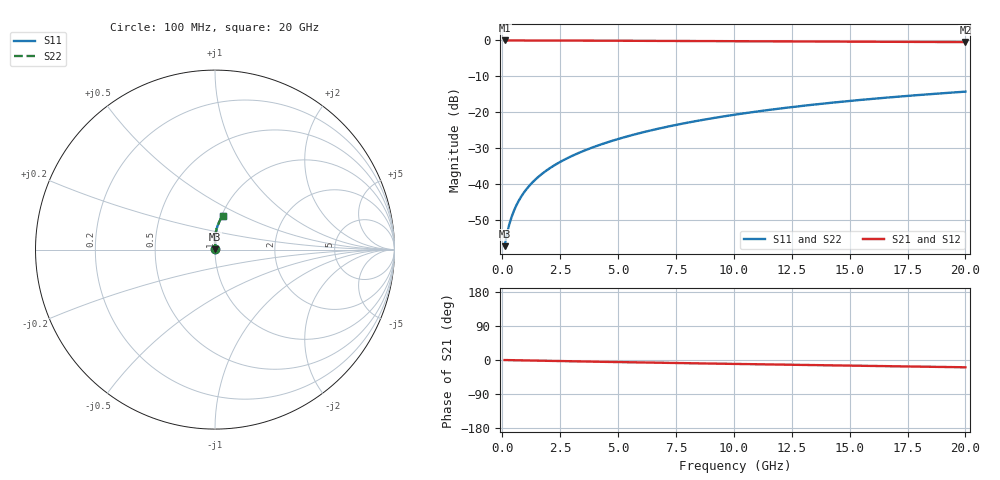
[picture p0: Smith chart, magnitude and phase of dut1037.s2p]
! Touchstone file exported from HFSS 2024.1.0
!  File:  C:/UserFiles/LocalFiles/RDL_TSV_Batchsim/temp_RDL_bottom_1037_1780051424.aedt
!  Generated:  06:46:00 PM May 29, 2026
!  Design:  RDL_bottom
!  Project:  temp_RDL_bottom_1037_1780051424
!  Setup:  Setup1
!  Solution:  Sweep
! Variables:
!  dtsv = 10.80580581um
!  hbump = 3um
!  htsv = 58.03um
!  ldown = 258.35um
!  lrdl = 100um
!  p = 40
!  p1 = 49.83um
!  rhole = 1um
!  t = 450um
!  tdown = 4.41um
!  trdl = 3.915915916um
!  wdown = 24.18um
!  wrdl = 20um
# GHz S MA R 50.000000
! Terminal data exported
! Port[1] = RDL1_T1
! Port[2] = RDL1_T2
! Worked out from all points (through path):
!   200 points, 100 MHz to 20 GHz, reference 50 ohm
!   highest |S21| = -0.01 dB at 100 MHz (marker M1); lowest = -0.5 dB at 20 GHz (marker M2)
!   group delay of S21, straight-line fit = 2.63 ps
!   lowest |S11| = -57.3 dB at 100 MHz (marker M3), VSWR 1.00, Z = 50.1 + j0.0893 ohm
!   |S11| at or under -10 dB: start of sweep to end of sweep
!   |S22| runs from -57.3 to -14.3 dB; largest |S21 - S12| = 2.2e-15
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0.1  0.001372 40.5  0.999 -0.1  0.999 -0.1  0.001372 40.5
! Gamma 0 0 0 0
! Port Impedance 50 0 50 0
0.2  0.002033 57.1  0.9989 -0.2  0.9989 -0.2  0.002034 57.1
0.3  0.002746 65.6  0.9988 -0.4  0.9988 -0.4  0.002746 65.6
0.4  0.003486 70.8  0.9987 -0.5  0.9987 -0.5  0.003486 70.8
0.5  0.004245 74.3  0.9986 -0.6  0.9986 -0.6  0.004246 74.3
0.6  0.005017 76.8  0.9986 -0.7  0.9986 -0.7  0.005017 76.8
0.8  0.006583 80.1  0.9984 -0.9  0.9984 -0.9  0.006583 80.1
1.1  0.008966 83.0  0.9982 -1.3  0.9982 -1.3  0.008966 83.0
1.5  0.01218 85.3  0.9977 -1.7  0.9977 -1.7  0.01218 85.3
1.8  0.01462 86.4  0.9973 -2.0  0.9973 -2.0  0.01462 86.4
2.1  0.01708 87.3  0.9968 -2.4  0.9968 -2.4  0.01708 87.3
2.7  0.02208 88.5  0.9957 -3.0  0.9957 -3.0  0.02208 88.5
3.5  0.02894 89.6  0.9938 -3.9  0.9938 -3.9  0.02894 89.6
4.2  0.03515 90.1  0.992 -4.7  0.992 -4.7  0.03515 90.1
5  0.04248 90.4  0.9898 -5.5  0.9898 -5.5  0.04248 90.4
6.8  0.05977 90.1  0.9845 -7.3  0.9845 -7.3  0.05977 90.1
8.4  0.07582 89.2  0.9797 -8.8  0.9797 -8.8  0.07582 89.2
10.1  0.09326 87.7  0.9748 -10.4  0.9748 -10.4  0.09326 87.7
11.7  0.1098 86.2  0.9703 -11.9  0.9703 -11.9  0.1098 86.2
13.4  0.1274 84.4  0.9656 -13.4  0.9656 -13.4  0.1274 84.4
16.7  0.1611 80.8  0.9567 -16.3  0.9567 -16.3  0.1611 80.8
20  0.1938 77.3  0.9477 -19.2  0.9477 -19.2  0.1938 77.3
